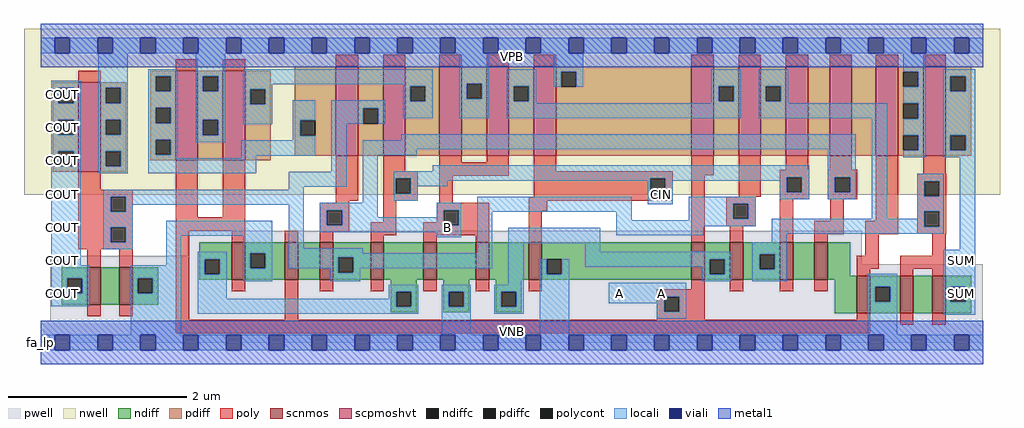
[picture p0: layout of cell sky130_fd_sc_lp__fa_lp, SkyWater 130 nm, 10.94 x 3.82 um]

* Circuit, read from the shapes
.subckt sky130_fd_sc_lp__fa_lp A B CIN VGND VNB VPB VPWR COUT SUM
XM1 n1 n2 COUT VNB sky130_fd_pr__nfet_01v8 w=0.42 l=0.15
XM2 VGND n2 n1 VNB sky130_fd_pr__nfet_01v8 w=0.42 l=0.15
XM3 VGND A n3 VNB sky130_fd_pr__nfet_01v8 w=0.42 l=0.15
XM4 n4 A VGND VNB sky130_fd_pr__nfet_01v8 w=0.42 l=0.15
XM5 n2 B n4 VNB sky130_fd_pr__nfet_01v8 w=0.42 l=0.15
XM6 n3 CIN n2 VNB sky130_fd_pr__nfet_01v8 w=0.42 l=0.15
XM7 VGND B n3 VNB sky130_fd_pr__nfet_01v8 w=0.42 l=0.15
XM8 n5 B VGND VNB sky130_fd_pr__nfet_01v8 w=0.42 l=0.15
XM9 VGND CIN n5 VNB sky130_fd_pr__nfet_01v8 w=0.42 l=0.15
XM10 n5 A VGND VNB sky130_fd_pr__nfet_01v8 w=0.42 l=0.15
XM11 n6 n2 n5 VNB sky130_fd_pr__nfet_01v8 w=0.42 l=0.15
XM12 n7 CIN n6 VNB sky130_fd_pr__nfet_01v8 w=0.42 l=0.15
XM13 n8 B n7 VNB sky130_fd_pr__nfet_01v8 w=0.42 l=0.15
XM14 VGND A n8 VNB sky130_fd_pr__nfet_01v8 w=0.42 l=0.15
XM15 n9 n6 VGND VNB sky130_fd_pr__nfet_01v8 w=0.42 l=0.15
XM16 SUM n6 n9 VNB sky130_fd_pr__nfet_01v8 w=0.42 l=0.15
XM17 VPWR n2 COUT VPB sky130_fd_pr__pfet_01v8_hvt w=1 l=0.25
XM18 VPWR A n10 VPB sky130_fd_pr__pfet_01v8_hvt w=1 l=0.25
XM19 n11 A VPWR VPB sky130_fd_pr__pfet_01v8_hvt w=1 l=0.25
XM20 n2 B n10 VPB sky130_fd_pr__pfet_01v8_hvt w=1 l=0.25
XM21 n11 CIN n2 VPB sky130_fd_pr__pfet_01v8_hvt w=1 l=0.25
XM22 VPWR B n11 VPB sky130_fd_pr__pfet_01v8_hvt w=1 l=0.25
XM23 n12 B VPWR VPB sky130_fd_pr__pfet_01v8_hvt w=1 l=0.25
XM24 VPWR CIN n12 VPB sky130_fd_pr__pfet_01v8_hvt w=1 l=0.25
XM25 n12 A VPWR VPB sky130_fd_pr__pfet_01v8_hvt w=1 l=0.25
XM26 n6 n2 n12 VPB sky130_fd_pr__pfet_01v8_hvt w=1 l=0.25
XM27 n13 CIN n6 VPB sky130_fd_pr__pfet_01v8_hvt w=1 l=0.25
XM28 n14 B n13 VPB sky130_fd_pr__pfet_01v8_hvt w=1 l=0.25
XM29 VPWR A n14 VPB sky130_fd_pr__pfet_01v8_hvt w=1 l=0.25
XM30 SUM n6 VPWR VPB sky130_fd_pr__pfet_01v8_hvt w=1 l=0.25
.ends

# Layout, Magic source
magic
tech sky130A
magscale 1 2
<< nwell >>
rect -38 331 2150 704
<< pwell >>
rect 329 195 1840 251
rect 21 176 1840 195
rect 21 49 2111 176
rect 0 0 2112 49
<< scnmos >>
rect 104 85 134 169
rect 176 85 206 169
rect 428 141 458 225
rect 547 141 577 225
rect 625 141 655 225
rect 739 141 769 225
rect 857 141 887 225
rect 975 141 1005 225
rect 1093 141 1123 225
rect 1458 141 1488 225
rect 1544 141 1574 225
rect 1656 141 1686 225
rect 1734 141 1764 225
rect 1829 66 1859 150
rect 1926 66 1956 150
rect 1998 66 2028 150
<< scpmoshvt >>
rect 84 383 134 583
rect 302 409 352 609
rect 408 409 458 609
rect 661 419 711 619
rect 767 419 817 619
rect 893 419 943 619
rect 999 419 1049 619
rect 1105 419 1155 619
rect 1458 419 1508 619
rect 1564 419 1614 619
rect 1670 419 1720 619
rect 1768 419 1818 619
rect 1872 419 1922 619
rect 1978 419 2028 619
<< ndiff >>
rect 47 144 104 169
rect 47 110 59 144
rect 93 110 104 144
rect 47 85 104 110
rect 134 85 176 169
rect 206 144 263 169
rect 206 110 217 144
rect 251 110 263 144
rect 206 85 263 110
rect 355 187 428 225
rect 355 153 367 187
rect 401 153 428 187
rect 355 141 428 153
rect 458 200 547 225
rect 458 166 469 200
rect 503 166 547 200
rect 458 141 547 166
rect 577 141 625 225
rect 655 191 739 225
rect 655 157 666 191
rect 700 157 739 191
rect 655 141 739 157
rect 769 141 857 225
rect 887 141 975 225
rect 1005 141 1093 225
rect 1123 187 1458 225
rect 1123 153 1134 187
rect 1168 153 1458 187
rect 1123 141 1458 153
rect 1488 187 1544 225
rect 1488 153 1499 187
rect 1533 153 1544 187
rect 1488 141 1544 153
rect 1574 198 1656 225
rect 1574 164 1611 198
rect 1645 164 1656 198
rect 1574 141 1656 164
rect 1686 141 1734 225
rect 1764 150 1814 225
rect 1764 141 1829 150
rect 784 114 842 141
rect 784 80 796 114
rect 830 80 842 114
rect 784 68 842 80
rect 902 114 960 141
rect 902 80 914 114
rect 948 80 960 114
rect 902 68 960 80
rect 1020 114 1078 141
rect 1020 80 1032 114
rect 1066 80 1078 114
rect 1020 68 1078 80
rect 1779 66 1829 141
rect 1859 125 1926 150
rect 1859 91 1870 125
rect 1904 91 1926 125
rect 1859 66 1926 91
rect 1956 66 1998 150
rect 2028 125 2085 150
rect 2028 91 2039 125
rect 2073 91 2085 125
rect 2028 66 2085 91
<< pdiff >>
rect 245 597 302 609
rect 27 571 84 583
rect 27 537 39 571
rect 73 537 84 571
rect 27 500 84 537
rect 27 466 39 500
rect 73 466 84 500
rect 27 429 84 466
rect 27 395 39 429
rect 73 395 84 429
rect 27 383 84 395
rect 134 571 191 583
rect 134 537 145 571
rect 179 537 191 571
rect 134 500 191 537
rect 134 466 145 500
rect 179 466 191 500
rect 134 429 191 466
rect 134 395 145 429
rect 179 395 191 429
rect 245 563 257 597
rect 291 563 302 597
rect 245 526 302 563
rect 245 492 257 526
rect 291 492 302 526
rect 245 455 302 492
rect 245 421 257 455
rect 291 421 302 455
rect 245 409 302 421
rect 352 597 408 609
rect 352 563 363 597
rect 397 563 408 597
rect 352 499 408 563
rect 352 465 363 499
rect 397 465 408 499
rect 352 409 408 465
rect 458 568 515 609
rect 458 534 469 568
rect 503 534 515 568
rect 458 409 515 534
rect 569 498 661 619
rect 569 464 581 498
rect 615 464 661 498
rect 569 419 661 464
rect 711 525 767 619
rect 711 491 722 525
rect 756 491 767 525
rect 711 419 767 491
rect 817 575 893 619
rect 817 541 828 575
rect 862 541 893 575
rect 817 419 893 541
rect 943 580 999 619
rect 943 546 954 580
rect 988 546 999 580
rect 943 419 999 546
rect 1049 575 1105 619
rect 1049 541 1060 575
rect 1094 541 1105 575
rect 1049 419 1105 541
rect 1155 607 1458 619
rect 1155 573 1166 607
rect 1200 573 1458 607
rect 1155 419 1458 573
rect 1508 575 1564 619
rect 1508 541 1519 575
rect 1553 541 1564 575
rect 1508 419 1564 541
rect 1614 575 1670 619
rect 1614 541 1625 575
rect 1659 541 1670 575
rect 1614 419 1670 541
rect 1720 419 1768 619
rect 1818 419 1872 619
rect 1922 607 1978 619
rect 1922 573 1933 607
rect 1967 573 1978 607
rect 1922 536 1978 573
rect 1922 502 1933 536
rect 1967 502 1978 536
rect 1922 465 1978 502
rect 1922 431 1933 465
rect 1967 431 1978 465
rect 1922 419 1978 431
rect 2028 597 2085 619
rect 2028 563 2039 597
rect 2073 563 2085 597
rect 2028 465 2085 563
rect 2028 431 2039 465
rect 2073 431 2085 465
rect 2028 419 2085 431
rect 134 383 191 395
<< ndiffc >>
rect 59 110 93 144
rect 217 110 251 144
rect 367 153 401 187
rect 469 166 503 200
rect 666 157 700 191
rect 1134 153 1168 187
rect 1499 153 1533 187
rect 1611 164 1645 198
rect 796 80 830 114
rect 914 80 948 114
rect 1032 80 1066 114
rect 1870 91 1904 125
rect 2039 91 2073 125
<< pdiffc >>
rect 39 537 73 571
rect 39 466 73 500
rect 39 395 73 429
rect 145 537 179 571
rect 145 466 179 500
rect 145 395 179 429
rect 257 563 291 597
rect 257 492 291 526
rect 257 421 291 455
rect 363 563 397 597
rect 363 465 397 499
rect 469 534 503 568
rect 581 464 615 498
rect 722 491 756 525
rect 828 541 862 575
rect 954 546 988 580
rect 1060 541 1094 575
rect 1166 573 1200 607
rect 1519 541 1553 575
rect 1625 541 1659 575
rect 1933 573 1967 607
rect 1933 502 1967 536
rect 1933 431 1967 465
rect 2039 563 2073 597
rect 2039 431 2073 465
<< poly >>
rect 302 609 352 635
rect 408 609 458 635
rect 661 619 711 645
rect 767 619 817 645
rect 893 619 943 645
rect 999 619 1049 645
rect 1105 619 1155 645
rect 1458 619 1508 645
rect 1564 619 1614 645
rect 1670 619 1720 645
rect 1768 619 1818 645
rect 1872 619 1922 645
rect 1978 619 2028 645
rect 84 583 134 609
rect 84 343 134 383
rect 84 327 206 343
rect 84 293 156 327
rect 190 293 206 327
rect 84 259 206 293
rect 84 225 156 259
rect 190 225 206 259
rect 84 209 206 225
rect 104 169 134 209
rect 176 169 206 209
rect 302 281 352 409
rect 408 281 458 409
rect 661 318 711 419
rect 767 384 817 419
rect 893 404 943 419
rect 999 404 1049 419
rect 767 368 845 384
rect 767 334 795 368
rect 829 334 845 368
rect 767 318 845 334
rect 893 374 1049 404
rect 1105 384 1155 419
rect 661 313 691 318
rect 302 251 458 281
rect 625 297 691 313
rect 625 263 641 297
rect 675 263 691 297
rect 767 270 797 318
rect 893 313 923 374
rect 1105 368 1416 384
rect 1105 334 1366 368
rect 1400 334 1416 368
rect 1105 326 1416 334
rect 1093 318 1416 326
rect 1458 375 1508 419
rect 887 297 1005 313
rect 887 270 903 297
rect 104 59 134 85
rect 176 59 206 85
rect 302 51 332 251
rect 428 225 458 251
rect 547 225 577 251
rect 625 247 691 263
rect 625 225 655 247
rect 739 240 797 270
rect 857 263 903 270
rect 937 263 1005 297
rect 857 240 1005 263
rect 739 225 769 240
rect 857 225 887 240
rect 975 225 1005 240
rect 1093 296 1135 318
rect 1093 225 1123 296
rect 1458 225 1488 375
rect 1564 327 1614 419
rect 1670 387 1720 419
rect 1768 387 1818 419
rect 1656 371 1722 387
rect 1656 337 1672 371
rect 1706 337 1722 371
rect 1536 311 1602 327
rect 1536 277 1552 311
rect 1586 277 1602 311
rect 1536 261 1602 277
rect 1656 321 1722 337
rect 1764 371 1830 387
rect 1764 337 1780 371
rect 1814 337 1830 371
rect 1764 321 1830 337
rect 1544 225 1574 261
rect 1656 225 1686 321
rect 1770 273 1800 321
rect 1872 273 1922 419
rect 1978 378 2028 419
rect 1734 243 1800 273
rect 1848 243 1922 273
rect 1964 362 2030 378
rect 1964 328 1980 362
rect 2014 328 2030 362
rect 1964 294 2030 328
rect 1964 260 1980 294
rect 2014 260 2030 294
rect 1964 244 2030 260
rect 1734 225 1764 243
rect 1848 195 1878 243
rect 1998 195 2028 244
rect 1829 165 1878 195
rect 1926 165 2028 195
rect 1829 150 1859 165
rect 1926 150 1956 165
rect 1998 150 2028 165
rect 428 115 458 141
rect 547 51 577 141
rect 625 115 655 141
rect 739 115 769 141
rect 857 115 887 141
rect 975 115 1005 141
rect 1093 115 1123 141
rect 1458 119 1488 141
rect 1381 103 1488 119
rect 1544 115 1574 141
rect 1656 115 1686 141
rect 1734 115 1764 141
rect 1381 69 1397 103
rect 1431 69 1488 103
rect 1381 51 1488 69
rect 1829 51 1859 66
rect 302 21 1859 51
rect 1926 40 1956 66
rect 1998 40 2028 66
<< polycont >>
rect 156 293 190 327
rect 156 225 190 259
rect 795 334 829 368
rect 641 263 675 297
rect 1366 334 1400 368
rect 903 263 937 297
rect 1672 337 1706 371
rect 1552 277 1586 311
rect 1780 337 1814 371
rect 1980 328 2014 362
rect 1980 260 2014 294
rect 1397 69 1431 103
<< locali >>
rect 0 649 31 683
rect 65 649 127 683
rect 161 649 223 683
rect 257 649 319 683
rect 353 649 415 683
rect 449 649 511 683
rect 545 649 607 683
rect 641 649 703 683
rect 737 649 799 683
rect 833 649 895 683
rect 929 649 991 683
rect 1025 649 1087 683
rect 1121 649 1183 683
rect 1217 649 1279 683
rect 1313 649 1375 683
rect 1409 649 1471 683
rect 1505 649 1567 683
rect 1601 649 1663 683
rect 1697 649 1759 683
rect 1793 649 1855 683
rect 1889 649 1951 683
rect 1985 649 2047 683
rect 2081 649 2112 683
rect 23 571 89 587
rect 23 537 39 571
rect 73 537 89 571
rect 23 500 89 537
rect 23 466 39 500
rect 73 466 89 500
rect 23 429 89 466
rect 23 395 39 429
rect 73 395 89 429
rect 23 173 89 395
rect 129 571 195 649
rect 129 537 145 571
rect 179 537 195 571
rect 129 500 195 537
rect 129 466 145 500
rect 179 466 195 500
rect 129 429 195 466
rect 129 395 145 429
rect 179 395 195 429
rect 129 379 195 395
rect 241 597 307 613
rect 241 563 257 597
rect 291 563 307 597
rect 241 526 307 563
rect 241 492 257 526
rect 291 492 307 526
rect 241 455 307 492
rect 241 421 257 455
rect 291 421 307 455
rect 347 597 413 649
rect 347 563 363 597
rect 397 563 413 597
rect 347 499 413 563
rect 347 465 363 499
rect 397 465 413 499
rect 453 579 878 613
rect 453 568 519 579
rect 453 534 469 568
rect 503 534 519 568
rect 812 575 878 579
rect 453 489 519 534
rect 565 498 615 543
rect 347 449 413 465
rect 565 464 581 498
rect 565 453 615 464
rect 241 413 307 421
rect 449 419 615 453
rect 651 525 772 543
rect 651 491 722 525
rect 756 491 772 525
rect 812 541 828 575
rect 862 541 878 575
rect 812 503 878 541
rect 938 580 1004 649
rect 938 546 954 580
rect 988 546 1004 580
rect 938 503 1004 546
rect 1044 575 1110 613
rect 1044 541 1060 575
rect 1094 541 1110 575
rect 1150 607 1216 649
rect 1150 573 1166 607
rect 1200 573 1216 607
rect 1503 575 1569 613
rect 1044 537 1110 541
rect 1503 541 1519 575
rect 1553 541 1569 575
rect 1503 537 1569 541
rect 1044 503 1569 537
rect 1609 575 1675 613
rect 1609 541 1625 575
rect 1659 541 1675 575
rect 1609 537 1675 541
rect 1933 607 1983 649
rect 1967 573 1983 607
rect 1609 503 1897 537
rect 651 490 772 491
rect 449 413 483 419
rect 241 379 483 413
rect 651 383 685 490
rect 808 454 1827 467
rect 555 349 685 383
rect 721 433 1827 454
rect 721 420 842 433
rect 555 343 589 349
rect 140 327 589 343
rect 140 293 156 327
rect 190 309 589 327
rect 721 313 755 420
rect 878 384 1722 397
rect 791 371 1722 384
rect 791 368 1672 371
rect 791 334 795 368
rect 829 363 1366 368
rect 829 350 912 363
rect 829 334 845 350
rect 791 318 845 334
rect 1360 334 1366 363
rect 1400 363 1672 368
rect 1400 334 1416 363
rect 190 293 206 309
rect 140 259 206 293
rect 140 225 156 259
rect 190 225 206 259
rect 140 209 206 225
rect 281 239 519 273
rect 281 173 315 239
rect 23 144 109 173
rect 23 110 59 144
rect 93 110 109 144
rect 23 81 109 110
rect 201 144 315 173
rect 201 110 217 144
rect 251 110 315 144
rect 201 17 315 110
rect 351 187 417 203
rect 351 153 367 187
rect 401 153 417 187
rect 351 98 417 153
rect 453 200 519 239
rect 453 166 469 200
rect 503 166 519 200
rect 555 211 589 309
rect 625 297 755 313
rect 625 263 641 297
rect 675 281 755 297
rect 887 297 942 313
rect 887 281 903 297
rect 675 263 903 281
rect 937 263 942 297
rect 625 247 942 263
rect 887 236 942 247
rect 978 293 1324 327
rect 1360 310 1416 334
rect 1656 337 1672 363
rect 1706 337 1722 371
rect 1452 311 1602 327
rect 1656 321 1722 337
rect 1764 371 1827 433
rect 1764 337 1780 371
rect 1814 337 1827 371
rect 1764 321 1827 337
rect 555 200 721 211
rect 978 200 1012 293
rect 1290 274 1324 293
rect 1452 277 1552 311
rect 1586 277 1602 311
rect 1863 278 1897 503
rect 1933 536 1983 573
rect 1967 502 1983 536
rect 1933 465 1983 502
rect 1967 431 1983 465
rect 1933 415 1983 431
rect 2023 597 2094 613
rect 2023 563 2039 597
rect 2073 563 2094 597
rect 2023 465 2094 563
rect 2023 431 2039 465
rect 2073 431 2094 465
rect 2023 415 2094 431
rect 1964 362 2024 378
rect 1964 328 1980 362
rect 2014 328 2024 362
rect 1964 294 2024 328
rect 1964 278 1980 294
rect 1452 274 1602 277
rect 1290 261 1602 274
rect 555 191 1012 200
rect 555 166 666 191
rect 453 137 519 166
rect 650 157 666 166
rect 700 166 1012 191
rect 1048 223 1254 257
rect 1290 240 1486 261
rect 1638 260 1980 278
rect 2014 260 2024 294
rect 1638 244 2024 260
rect 1638 225 1672 244
rect 700 157 716 166
rect 650 137 716 157
rect 1048 130 1082 223
rect 1220 204 1254 223
rect 1220 187 1549 204
rect 780 114 846 130
rect 780 98 796 114
rect 351 80 796 98
rect 830 80 846 114
rect 351 64 846 80
rect 898 114 964 130
rect 898 80 914 114
rect 948 80 964 114
rect 898 17 964 80
rect 1016 114 1082 130
rect 1016 80 1032 114
rect 1066 80 1082 114
rect 1016 64 1082 80
rect 1118 153 1134 187
rect 1168 153 1184 187
rect 1220 170 1499 187
rect 1118 17 1184 153
rect 1483 153 1499 170
rect 1533 153 1549 187
rect 1483 137 1549 153
rect 1595 198 1672 225
rect 2060 208 2094 415
rect 1595 164 1611 198
rect 1645 164 1672 198
rect 1595 137 1672 164
rect 1273 103 1447 134
rect 1273 88 1397 103
rect 1381 69 1397 88
rect 1431 69 1447 103
rect 1381 53 1447 69
rect 1854 125 1920 154
rect 1854 91 1870 125
rect 1904 91 1920 125
rect 1854 17 1920 91
rect 2023 125 2094 208
rect 2023 91 2039 125
rect 2073 91 2094 125
rect 2023 62 2094 91
rect 0 -17 31 17
rect 65 -17 127 17
rect 161 -17 223 17
rect 257 -17 319 17
rect 353 -17 415 17
rect 449 -17 511 17
rect 545 -17 607 17
rect 641 -17 703 17
rect 737 -17 799 17
rect 833 -17 895 17
rect 929 -17 991 17
rect 1025 -17 1087 17
rect 1121 -17 1183 17
rect 1217 -17 1279 17
rect 1313 -17 1375 17
rect 1409 -17 1471 17
rect 1505 -17 1567 17
rect 1601 -17 1663 17
rect 1697 -17 1759 17
rect 1793 -17 1855 17
rect 1889 -17 1951 17
rect 1985 -17 2047 17
rect 2081 -17 2112 17
<< viali >>
rect 31 649 65 683
rect 127 649 161 683
rect 223 649 257 683
rect 319 649 353 683
rect 415 649 449 683
rect 511 649 545 683
rect 607 649 641 683
rect 703 649 737 683
rect 799 649 833 683
rect 895 649 929 683
rect 991 649 1025 683
rect 1087 649 1121 683
rect 1183 649 1217 683
rect 1279 649 1313 683
rect 1375 649 1409 683
rect 1471 649 1505 683
rect 1567 649 1601 683
rect 1663 649 1697 683
rect 1759 649 1793 683
rect 1855 649 1889 683
rect 1951 649 1985 683
rect 2047 649 2081 683
rect 31 -17 65 17
rect 127 -17 161 17
rect 223 -17 257 17
rect 319 -17 353 17
rect 415 -17 449 17
rect 511 -17 545 17
rect 607 -17 641 17
rect 703 -17 737 17
rect 799 -17 833 17
rect 895 -17 929 17
rect 991 -17 1025 17
rect 1087 -17 1121 17
rect 1183 -17 1217 17
rect 1279 -17 1313 17
rect 1375 -17 1409 17
rect 1471 -17 1505 17
rect 1567 -17 1601 17
rect 1663 -17 1697 17
rect 1759 -17 1793 17
rect 1855 -17 1889 17
rect 1951 -17 1985 17
rect 2047 -17 2081 17
<< metal1 >>
rect 0 683 2112 715
rect 0 649 31 683
rect 65 649 127 683
rect 161 649 223 683
rect 257 649 319 683
rect 353 649 415 683
rect 449 649 511 683
rect 545 649 607 683
rect 641 649 703 683
rect 737 649 799 683
rect 833 649 895 683
rect 929 649 991 683
rect 1025 649 1087 683
rect 1121 649 1183 683
rect 1217 649 1279 683
rect 1313 649 1375 683
rect 1409 649 1471 683
rect 1505 649 1567 683
rect 1601 649 1663 683
rect 1697 649 1759 683
rect 1793 649 1855 683
rect 1889 649 1951 683
rect 1985 649 2047 683
rect 2081 649 2112 683
rect 0 617 2112 649
rect 0 17 2112 49
rect 0 -17 31 17
rect 65 -17 127 17
rect 161 -17 223 17
rect 257 -17 319 17
rect 353 -17 415 17
rect 449 -17 511 17
rect 545 -17 607 17
rect 641 -17 703 17
rect 737 -17 799 17
rect 833 -17 895 17
rect 929 -17 991 17
rect 1025 -17 1087 17
rect 1121 -17 1183 17
rect 1217 -17 1279 17
rect 1313 -17 1375 17
rect 1409 -17 1471 17
rect 1505 -17 1567 17
rect 1601 -17 1663 17
rect 1697 -17 1759 17
rect 1793 -17 1855 17
rect 1889 -17 1951 17
rect 1985 -17 2047 17
rect 2081 -17 2112 17
rect 0 -49 2112 -17
<< labels >>
flabel pwell s 0 0 2112 49 0 FreeSans 200 0 0 0 VNB
port 5 nsew ground bidirectional
flabel nwell s 0 617 2112 666 0 FreeSans 200 0 0 0 VPB
port 6 nsew power bidirectional
rlabel comment s 0 0 0 0 4 fa_lp
flabel metal1 s 0 617 2112 666 0 FreeSans 340 0 0 0 VPWR
port 7 nsew power bidirectional
flabel metal1 s 0 0 2112 49 0 FreeSans 340 0 0 0 VGND
port 4 nsew ground bidirectional
flabel locali s 1375 316 1409 350 0 FreeSans 340 0 0 0 CIN
port 3 nsew signal input
flabel locali s 895 242 929 276 0 FreeSans 340 0 0 0 B
port 2 nsew signal input
flabel locali s 1279 94 1313 128 0 FreeSans 340 0 0 0 A
port 1 nsew signal input
flabel locali s 1375 94 1409 128 0 FreeSans 340 0 0 0 A
port 1 nsew signal input
flabel locali s 2047 94 2081 128 0 FreeSans 340 0 0 0 SUM
port 9 nsew signal output
flabel locali s 2047 168 2081 202 0 FreeSans 340 0 0 0 SUM
port 9 nsew signal output
flabel locali s 31 94 65 128 0 FreeSans 340 0 0 0 COUT
port 8 nsew signal output
flabel locali s 31 168 65 202 0 FreeSans 340 0 0 0 COUT
port 8 nsew signal output
flabel locali s 31 242 65 276 0 FreeSans 340 0 0 0 COUT
port 8 nsew signal output
flabel locali s 31 316 65 350 0 FreeSans 340 0 0 0 COUT
port 8 nsew signal output
flabel locali s 31 390 65 424 0 FreeSans 340 0 0 0 COUT
port 8 nsew signal output
flabel locali s 31 464 65 498 0 FreeSans 340 0 0 0 COUT
port 8 nsew signal output
flabel locali s 31 538 65 572 0 FreeSans 340 0 0 0 COUT
port 8 nsew signal output
<< properties >>
string LEFsite unit
string LEFclass CORE
string FIXED_BBOX 0 0 2112 666
string GDS_FILE $PDKPATH/libs.ref/sky130_fd_sc_lp/gds/sky130_fd_sc_lp.gds
string LEFsymmetry X Y R90
string GDS_END 2408608
string GDS_START 2395050
<< end >>
